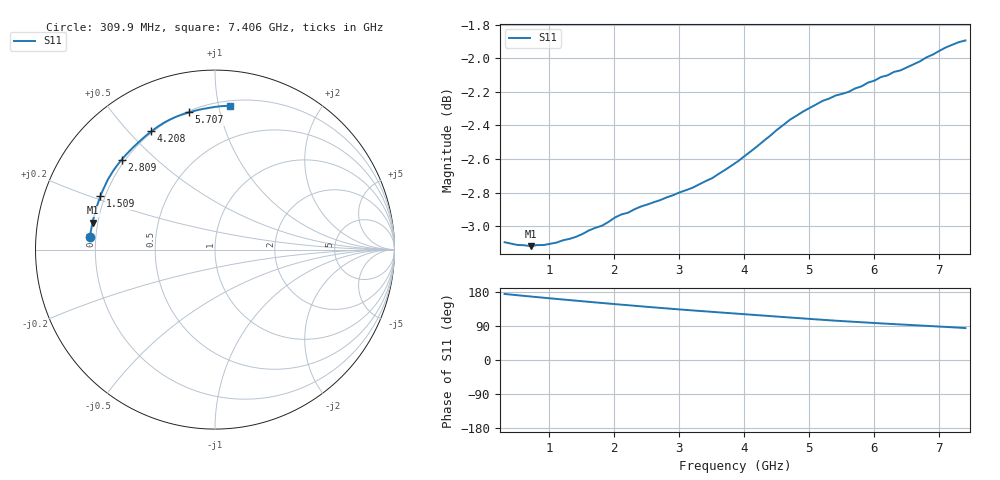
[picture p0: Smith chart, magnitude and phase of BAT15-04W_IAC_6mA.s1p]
! Infineon Technologies  Discrete & RF Semiconductors
! BAT15-04W-E6327
! IAC = 6 mA
! One-Port S-Parameters
# Hz  S  MA  R  50
!f  S11
!Hz  Mag  Ang
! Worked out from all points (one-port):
!   72 points, 309.9 MHz to 7.406 GHz, reference 50 ohm
!   lowest |S11| = -3.1 dB at 709.6 MHz (marker M1), VSWR 5.63, Z = 8.98 + j5.26 ohm
!   |S11| at or under -10 dB: nowhere
!   S11 on the Smith chart (normalised r, x): 309.9 MHz: 0.18, +0.05; 1.509 GHz: 0.18, +0.21; 2.809 GHz: 0.19, +0.39; 4.208 GHz: 0.19, +0.58; 5.707 GHz: 0.21, +0.81; 7.406 GHz: 0.24, +1.08
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3.0985e8  0.7002 174.3
6.097e8  0.6988 169.2
7.0965e8  0.6983 167.6
1.0095e9  0.6994 162.7
1.2094e9  0.7011 159.6
1.50925e9  0.7042 155.1
1.70915e9  0.7072 152.0
2.10895e9  0.7137 146.0
2.50875e9  0.7186 140.3
2.8086e9  0.7221 136.1
3.0085e9  0.7246 133.4
3.6082e9  0.7339 125.7
3.90805e9  0.7403 122.1
4.2079e9  0.748 118.3
4.50775e9  0.7564 114.6
4.8076e9  0.7637 110.8
5.2074e9  0.7715 106.1
5.4073e9  0.7743 103.8
5.6072e9  0.7763 101.6
5.70715e9  0.7781 100.7
5.8071e9  0.7792 99.6
6.10695e9  0.7842 96.7
6.30685e9  0.787 94.7
6.6067e9  0.7911 92.0
6.8066e9  0.7949 90.2
7.10645e9  0.8003 87.3
7.30635e9  0.8032 85.3
7.4063e9  0.8041 84.2
